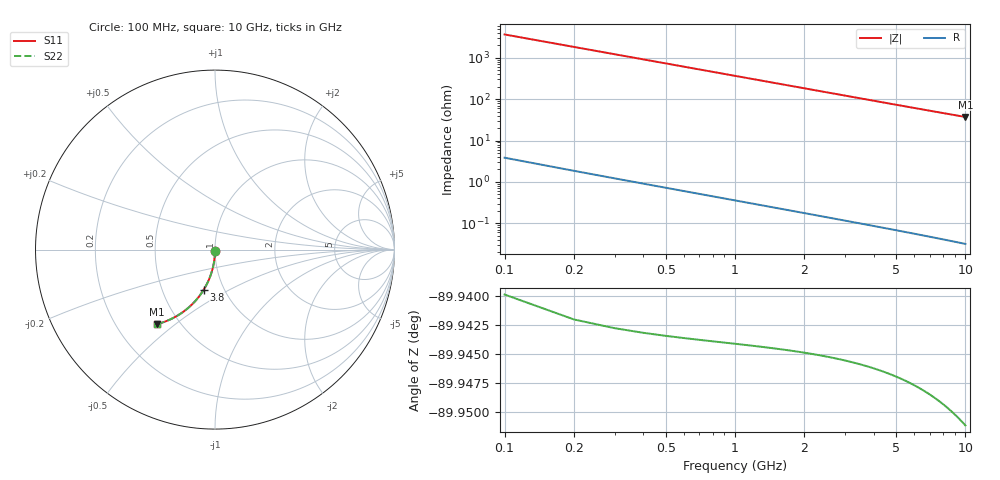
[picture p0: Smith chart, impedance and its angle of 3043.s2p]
# Hz S RI R 50.00
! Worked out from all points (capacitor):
!   100 points, 100 MHz to 10 GHz, reference 50 ohm
!   read as one part in shunt: C = 435 fF near 100 MHz
!   lowest |Z| = 37.1 ohm at 10 GHz (marker M1)
!   S11 on the Smith chart (normalised r, x): 100 MHz: 1.00, -0.01; 3.8 GHz: 0.80, -0.38; 10 GHz: 0.37, -0.43
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1e8  0.000134 -0.00631  0.9998 -0.00736  0.9998 -0.00736  0.000134 -0.00631
2e8  -1.03e-05 -0.0126  0.9996 -0.0147  0.9996 -0.0147  -1.03e-05 -0.0126
3e8  -0.000248 -0.0189  0.9994 -0.0221  0.9994 -0.0221  -0.000248 -0.0189
4e8  -0.000579 -0.0252  0.999 -0.0294  0.999 -0.0294  -0.000579 -0.0252
5e8  -0.001 -0.0315  0.9986 -0.0368  0.9986 -0.0368  -0.001 -0.0315
6e8  -0.00152 -0.0378  0.9981 -0.0441  0.9981 -0.0441  -0.00152 -0.0378
7e8  -0.00213 -0.0441  0.9975 -0.0514  0.9975 -0.0514  -0.00213 -0.0441
8e8  -0.00282 -0.0503  0.9968 -0.0587  0.9968 -0.0587  -0.00282 -0.0503
9e8  -0.00362 -0.0566  0.996 -0.066  0.996 -0.066  -0.00362 -0.0566
1.1e9  -0.00547 -0.069  0.9941 -0.0806  0.9941 -0.0806  -0.00547 -0.069
1.4e9  -0.00893 -0.0875  0.9906 -0.1022  0.9906 -0.1022  -0.00893 -0.0875
1.8e9  -0.0148 -0.1119  0.9846 -0.1308  0.9846 -0.1308  -0.0148 -0.1119
2.1e9  -0.0201 -0.1298  0.9793 -0.1518  0.9793 -0.1518  -0.0201 -0.1298
2.5e9  -0.0283 -0.1532  0.971 -0.1795  0.971 -0.1795  -0.0283 -0.1532
2.9e9  -0.0378 -0.1759  0.9614 -0.2064  0.9614 -0.2064  -0.0378 -0.1759
3.4e9  -0.0513 -0.2032  0.9477 -0.239  0.9477 -0.239  -0.0513 -0.2032
3.8e9  -0.0633 -0.2242  0.9354 -0.2642  0.9354 -0.2642  -0.0633 -0.2242
4.4e9  -0.0833 -0.2538  0.9152 -0.3002  0.9152 -0.3002  -0.0833 -0.2538
5.1e9  -0.1091 -0.2855  0.889 -0.3394  0.889 -0.3394  -0.1091 -0.2855
6.7e9  -0.1755 -0.3456  0.8215 -0.4167  0.8215 -0.4167  -0.1755 -0.3456
8.4e9  -0.2522 -0.3903  0.7433 -0.4798  0.7433 -0.4798  -0.2522 -0.3903
1e10  -0.3253 -0.4155  0.6685 -0.5227  0.6685 -0.5227  -0.3253 -0.4155
